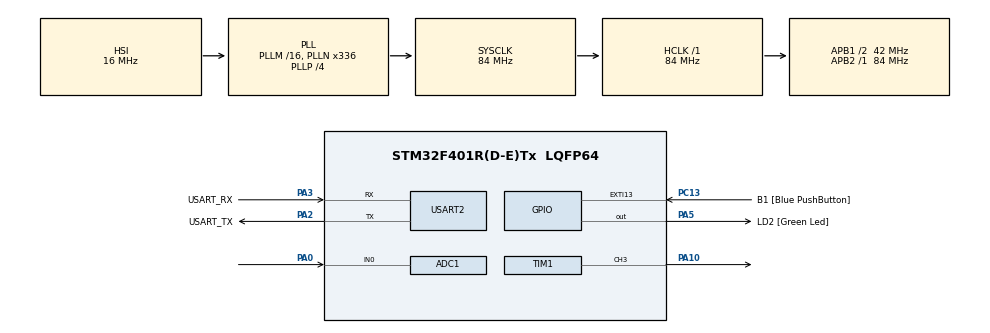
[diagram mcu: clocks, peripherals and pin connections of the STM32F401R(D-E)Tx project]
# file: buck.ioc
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ADC1.Channel-0\#ChannelRegularConversion=ADC_CHANNEL_0
ADC1.ContinuousConvMode=DISABLE
ADC1.ExternalTrigConv=ADC_EXTERNALTRIGCONV_T2_TRGO
ADC1.ExternalTrigConvEdge=ADC_EXTERNALTRIGCONVEDGE_FALLING
ADC1.NbrOfConversion=1
ADC1.NbrOfConversionFlag=1
ADC1.Rank-0\#ChannelRegularConversion=1
ADC1.SamplingTime-0\#ChannelRegularConversion=ADC_SAMPLETIME_3CYCLES
ADC1.master=1
Mcu.Family=STM32F4
Mcu.Name=STM32F401R(D-E)Tx
Mcu.Package=LQFP64
NVIC.ADC_IRQn=true\:0\:0\:false\:false\:true\:true\:true
NVIC.PriorityGroup=NVIC_PRIORITYGROUP_0
NVIC.TIM1_CC_IRQn=true\:0\:0\:false\:false\:true\:true\:true
NVIC.TIM2_IRQn=true\:0\:0\:false\:false\:true\:true\:true
PA0-WKUP.Signal=ADCx_IN0
PA10.Signal=S_TIM1_CH3
PA13.GPIO_Label=TMS
PA13.Mode=Serial_Wire
PA13.Signal=SYS_JTMS-SWDIO
PA14.GPIO_Label=TCK
PA14.Mode=Serial_Wire
PA14.Signal=SYS_JTCK-SWCLK
PA2.GPIO_Label=USART_TX
PA2.GPIO_Mode=GPIO_MODE_AF_PP
PA2.GPIO_PuPd=GPIO_NOPULL
PA2.GPIO_Speed=GPIO_SPEED_FREQ_LOW
PA2.Mode=Asynchronous
PA2.Signal=USART2_TX
PA3.GPIO_Label=USART_RX
PA3.GPIO_Mode=GPIO_MODE_AF_PP
PA3.GPIO_PuPd=GPIO_NOPULL
PA3.GPIO_Speed=GPIO_SPEED_FREQ_LOW
PA3.Mode=Asynchronous
PA3.Signal=USART2_RX
PA5.GPIO_Label=LD2 [Green Led]
PA5.GPIO_Mode=GPIO_MODE_OUTPUT_PP
PA5.GPIO_PuPd=GPIO_NOPULL
PA5.GPIO_Speed=GPIO_SPEED_FREQ_LOW
PA5.Signal=GPIO_Output
PB3.GPIO_Label=SWO
PB3.Signal=SYS_JTDO-SWO
PC13-ANTI_TAMP.GPIO_Label=B1 [Blue PushButton]
PC13-ANTI_TAMP.GPIO_ModeDefaultEXTI=GPIO_MODE_IT_FALLING
PC13-ANTI_TAMP.GPIO_PuPd=GPIO_NOPULL
PC13-ANTI_TAMP.Signal=GPXTI13
PC14-OSC32_IN.Mode=LSE-External-Oscillator
PC14-OSC32_IN.Signal=RCC_OSC32_IN
PC15-OSC32_OUT.Mode=LSE-External-Oscillator
PC15-OSC32_OUT.Signal=RCC_OSC32_OUT
PH0\ -\ OSC_IN.Mode=HSE-External-Clock-Source
PH0\ -\ OSC_IN.Signal=RCC_OSC_IN
PH1\ -\ OSC_OUT.Mode=HSE-External-Clock-Source
PH1\ -\ OSC_OUT.Signal=RCC_OSC_OUT
ProjectManager.HeapSize=0x200
ProjectManager.StackSize=0x400
ProjectManager.TargetToolchain=STM32CubeIDE
RCC.48MHZClocksFreq_Value=48000000
RCC.AHBFreq_Value=84000000
RCC.APB1CLKDivider=RCC_HCLK_DIV2
RCC.APB1Freq_Value=42000000
RCC.APB1TimFreq_Value=84000000
RCC.APB2Freq_Value=84000000
RCC.APB2TimFreq_Value=84000000
RCC.CortexFreq_Value=84000000
RCC.HCLKFreq_Value=84000000
RCC.HSE_VALUE=8000000
RCC.HSI_VALUE=16000000
RCC.PLLN=336
RCC.PLLP=RCC_PLLP_DIV4
RCC.PLLQ=7
RCC.SYSCLKFreq_VALUE=84000000
RCC.SYSCLKSource=RCC_SYSCLKSOURCE_PLLCLK
RCC.VCOOutputFreq_Value=336000000
SH.ADCx_IN0.0=ADC1_IN0,IN0
SH.S_TIM1_CH3.0=TIM1_CH3,PWM Generation3 CH3
TIM1.AutoReloadPreload=TIM_AUTORELOAD_PRELOAD_DISABLE
TIM1.Channel-PWM\ Generation3\ CH3=TIM_CHANNEL_3
TIM1.OCFastMode_PWM-PWM\ Generation3\ CH3=TIM_OCFAST_ENABLE
TIM1.Period=840
TIM1.Pulse-PWM\ Generation3\ CH3=100
TIM1.TIM_MasterOutputTrigger=TIM_TRGO_UPDATE
TIM2.AutoReloadPreload=TIM_AUTORELOAD_PRELOAD_DISABLE
TIM2.Channel-PWM\ Generation1\ No\ Output=TIM_CHANNEL_1
TIM2.Period=840
TIM2.Pulse-PWM\ Generation1\ No\ Output=1000
TIM2.TIM_MasterOutputTrigger=TIM_TRGO_UPDATE
USART2.VirtualMode=VM_ASYNC
VP_TIM2_VS_no_output1.Mode=PWM Generation1 No Output
board=NUCLEO-F401RE

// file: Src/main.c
/* USER CODE BEGIN Header */
/**
  ******************************************************************************
  * @file           : main.c
  * @brief          : Main program body
  ******************************************************************************
  * @attention
  *
  * <h2><center>&copy; Copyright (c) 2021 STMicroelectronics.
  * All rights reserved.</center></h2>
  *
  * This software component is licensed by ST under BSD 3-Clause license,
  * the "License"; You may not use this file except in compliance with the
  * License. You may obtain a copy of the License at:
  *                        opensource.org/licenses/BSD-3-Clause
  *
  ******************************************************************************
  */
/* USER CODE END Header */
#include "main.h"

/* USER CODE BEGIN PM */
typedef struct {
	double error;
	double k_i;
	double k_p;
	double k_i_array;
	double dt;
	double set_point;
}PI;

void pi_init(PI *pi_obj,double set_ki,double set_kp,double set_dt)
{
	pi_obj->dt = set_dt;
	pi_obj->k_i = set_ki;
	pi_obj->k_p = set_kp;

}
void update_setpoint(PI *pi_obj,double setpoint)
{
	pi_obj->set_point = setpoint;

}
double update_pi(PI *pi,double current_target)
{
	double return_duty;
	pi->error = (pi->set_point - current_target)/100.0;
	pi->k_i_array += pi->k_i*pi->error*pi->dt;
	return_duty = pi->error*(pi->k_p) + pi->k_i_array*(pi->k_i);
	return_duty = return_duty>0.9?0.9:return_duty;
	return_duty = return_duty<0?0:return_duty;
	return return_duty;

}

/* USER CODE END PM */

ADC_HandleTypeDef hadc1;

TIM_HandleTypeDef htim1;
TIM_HandleTypeDef htim2;

UART_HandleTypeDef huart2;

/* USER CODE BEGIN PV */
uint16_t adc_val;
PI Pi;

/* USER CODE END PV */

void SystemClock_Config(void);
static void MX_GPIO_Init(void);
static void MX_USART2_UART_Init(void);
static void MX_ADC1_Init(void);
static void MX_TIM1_Init(void);
static void MX_TIM2_Init(void);

/* USER CODE BEGIN 0 */
void HAL_ADC_ConvCpltCallback(ADC_HandleTypeDef* AdcHandle)
{
	adc_val  = HAL_ADC_GetValue(&hadc1);
	TIM1->CCR3 = update_pi(&Pi,adc_val)*htim1.Init.Period ;

}
/* USER CODE END 0 */

int main(void)
{
  /* USER CODE BEGIN 1 */
	pi_init(&Pi,2,2.5,0.00009858);
	update_setpoint(&Pi,1120);

  /* USER CODE END 1 */

  /* MCU Configuration--------------------------------------------------------*/

  /* Reset of all peripherals, Initializes the Flash interface and the Systick. */
  HAL_Init();

  /* Configure the system clock */
  SystemClock_Config();

  /* Initialize all configured peripherals */
  MX_GPIO_Init();
  MX_USART2_UART_Init();
  MX_ADC1_Init();
  MX_TIM1_Init();
  MX_TIM2_Init();
  /* USER CODE BEGIN 2 */
  HAL_TIM_PWM_Start (&htim1,TIM_CHANNEL_3);
  HAL_TIM_PWM_Start (&htim2, TIM_CHANNEL_1);
  HAL_ADC_Start_IT(&hadc1);
  /* USER CODE END 2 */

  /* Infinite loop */
  while (1)
  {

  }
}

void SystemClock_Config(void)
{
  RCC_OscInitTypeDef RCC_OscInitStruct = {0};
  RCC_ClkInitTypeDef RCC_ClkInitStruct = {0};

  /** Configure the main internal regulator output voltage
  */
  __HAL_RCC_PWR_CLK_ENABLE();
  __HAL_PWR_VOLTAGESCALING_CONFIG(PWR_REGULATOR_VOLTAGE_SCALE2);
  /** Initializes the RCC Oscillators according to the specified parameters
  * in the RCC_OscInitTypeDef structure.
  */
  RCC_OscInitStruct.OscillatorType = RCC_OSCILLATORTYPE_HSI;
  RCC_OscInitStruct.HSIState = RCC_HSI_ON;
  RCC_OscInitStruct.HSICalibrationValue = RCC_HSICALIBRATION_DEFAULT;
  RCC_OscInitStruct.PLL.PLLState = RCC_PLL_ON;
  RCC_OscInitStruct.PLL.PLLSource = RCC_PLLSOURCE_HSI;
  RCC_OscInitStruct.PLL.PLLM = 16;
  RCC_OscInitStruct.PLL.PLLN = 336;
  RCC_OscInitStruct.PLL.PLLP = RCC_PLLP_DIV4;
  RCC_OscInitStruct.PLL.PLLQ = 7;
  if (HAL_RCC_OscConfig(&RCC_OscInitStruct) != HAL_OK)
  {
    Error_Handler();
  }
  /** Initializes the CPU, AHB and APB buses clocks
  */
  RCC_ClkInitStruct.ClockType = RCC_CLOCKTYPE_HCLK|RCC_CLOCKTYPE_SYSCLK
                              |RCC_CLOCKTYPE_PCLK1|RCC_CLOCKTYPE_PCLK2;
  RCC_ClkInitStruct.SYSCLKSource = RCC_SYSCLKSOURCE_PLLCLK;
  RCC_ClkInitStruct.AHBCLKDivider = RCC_SYSCLK_DIV1;
  RCC_ClkInitStruct.APB1CLKDivider = RCC_HCLK_DIV2;
  RCC_ClkInitStruct.APB2CLKDivider = RCC_HCLK_DIV1;

  if (HAL_RCC_ClockConfig(&RCC_ClkInitStruct, FLASH_LATENCY_2) != HAL_OK)
  {
    Error_Handler();
  }
}

static void MX_ADC1_Init(void)
{

  ADC_ChannelConfTypeDef sConfig = {0};

  /** Configure the global features of the ADC (Clock, Resolution, Data Alignment and number of conversion)
  */
  hadc1.Instance = ADC1;
  hadc1.Init.ClockPrescaler = ADC_CLOCK_SYNC_PCLK_DIV4;
  hadc1.Init.Resolution = ADC_RESOLUTION_12B;
  hadc1.Init.ScanConvMode = DISABLE;
  hadc1.Init.ContinuousConvMode = DISABLE;
  hadc1.Init.DiscontinuousConvMode = DISABLE;
  hadc1.Init.ExternalTrigConvEdge = ADC_EXTERNALTRIGCONVEDGE_FALLING;
  hadc1.Init.ExternalTrigConv = ADC_EXTERNALTRIGCONV_T2_TRGO;
  hadc1.Init.DataAlign = ADC_DATAALIGN_RIGHT;
  hadc1.Init.NbrOfConversion = 1;
  hadc1.Init.DMAContinuousRequests = DISABLE;
  hadc1.Init.EOCSelection = ADC_EOC_SINGLE_CONV;
  if (HAL_ADC_Init(&hadc1) != HAL_OK)
  {
    Error_Handler();
  }
  /** Configure for the selected ADC regular channel its corresponding rank in the sequencer and its sample time.
  */
  sConfig.Channel = ADC_CHANNEL_0;
  sConfig.Rank = 1;
  sConfig.SamplingTime = ADC_SAMPLETIME_3CYCLES;
  if (HAL_ADC_ConfigChannel(&hadc1, &sConfig) != HAL_OK)
  {
    Error_Handler();
  }

}

static void MX_TIM1_Init(void)
{

  TIM_MasterConfigTypeDef sMasterConfig = {0};
  TIM_OC_InitTypeDef sConfigOC = {0};
  TIM_BreakDeadTimeConfigTypeDef sBreakDeadTimeConfig = {0};

  htim1.Instance = TIM1;
  htim1.Init.Prescaler = 0;
  htim1.Init.CounterMode = TIM_COUNTERMODE_UP;
  htim1.Init.Period = 8400;
  htim1.Init.ClockDivision = TIM_CLOCKDIVISION_DIV1;
  htim1.Init.RepetitionCounter = 0;
  htim1.Init.AutoReloadPreload = TIM_AUTORELOAD_PRELOAD_DISABLE;
  if (HAL_TIM_PWM_Init(&htim1) != HAL_OK)
  {
    Error_Handler();
  }
  sMasterConfig.MasterOutputTrigger = TIM_TRGO_UPDATE;
  sMasterConfig.MasterSlaveMode = TIM_MASTERSLAVEMODE_DISABLE;
  if (HAL_TIMEx_MasterConfigSynchronization(&htim1, &sMasterConfig) != HAL_OK)
  {
    Error_Handler();
  }
  sConfigOC.OCMode = TIM_OCMODE_PWM1;
  sConfigOC.Pulse = 1000;
  sConfigOC.OCPolarity = TIM_OCPOLARITY_HIGH;
  sConfigOC.OCNPolarity = TIM_OCNPOLARITY_HIGH;
  sConfigOC.OCFastMode = TIM_OCFAST_ENABLE;
  sConfigOC.OCIdleState = TIM_OCIDLESTATE_RESET;
  sConfigOC.OCNIdleState = TIM_OCNIDLESTATE_RESET;
  if (HAL_TIM_PWM_ConfigChannel(&htim1, &sConfigOC, TIM_CHANNEL_3) != HAL_OK)
  {
    Error_Handler();
  }
  sBreakDeadTimeConfig.OffStateRunMode = TIM_OSSR_DISABLE;
  sBreakDeadTimeConfig.OffStateIDLEMode = TIM_OSSI_DISABLE;
  sBreakDeadTimeConfig.LockLevel = TIM_LOCKLEVEL_OFF;
  sBreakDeadTimeConfig.DeadTime = 0;
  sBreakDeadTimeConfig.BreakState = TIM_BREAK_DISABLE;
  sBreakDeadTimeConfig.BreakPolarity = TIM_BREAKPOLARITY_HIGH;
  sBreakDeadTimeConfig.AutomaticOutput = TIM_AUTOMATICOUTPUT_DISABLE;
  if (HAL_TIMEx_ConfigBreakDeadTime(&htim1, &sBreakDeadTimeConfig) != HAL_OK)
  {
    Error_Handler();
  }
  HAL_TIM_MspPostInit(&htim1);

}

static void MX_TIM2_Init(void)
{

  TIM_MasterConfigTypeDef sMasterConfig = {0};
  TIM_OC_InitTypeDef sConfigOC = {0};

  htim2.Instance = TIM2;
  htim2.Init.Prescaler = 0;
  htim2.Init.CounterMode = TIM_COUNTERMODE_UP;
  htim2.Init.Period = 8400;
  htim2.Init.ClockDivision = TIM_CLOCKDIVISION_DIV1;
  htim2.Init.AutoReloadPreload = TIM_AUTORELOAD_PRELOAD_DISABLE;
  if (HAL_TIM_PWM_Init(&htim2) != HAL_OK)
  {
    Error_Handler();
  }
  sMasterConfig.MasterOutputTrigger = TIM_TRGO_UPDATE;
  sMasterConfig.MasterSlaveMode = TIM_MASTERSLAVEMODE_DISABLE;
  if (HAL_TIMEx_MasterConfigSynchronization(&htim2, &sMasterConfig) != HAL_OK)
  {
    Error_Handler();
  }
  sConfigOC.OCMode = TIM_OCMODE_PWM1;
  sConfigOC.Pulse = 1000;
  sConfigOC.OCPolarity = TIM_OCPOLARITY_HIGH;
  sConfigOC.OCFastMode = TIM_OCFAST_DISABLE;
  if (HAL_TIM_PWM_ConfigChannel(&htim2, &sConfigOC, TIM_CHANNEL_1) != HAL_OK)
  {
    Error_Handler();
  }

}

static void MX_USART2_UART_Init(void)
{

  huart2.Instance = USART2;
  huart2.Init.BaudRate = 115200;
  huart2.Init.WordLength = UART_WORDLENGTH_8B;
  huart2.Init.StopBits = UART_STOPBITS_1;
  huart2.Init.Parity = UART_PARITY_NONE;
  huart2.Init.Mode = UART_MODE_TX_RX;
  huart2.Init.HwFlowCtl = UART_HWCONTROL_NONE;
  huart2.Init.OverSampling = UART_OVERSAMPLING_16;
  if (HAL_UART_Init(&huart2) != HAL_OK)
  {
    Error_Handler();
  }

}

static void MX_GPIO_Init(void)
{
  GPIO_InitTypeDef GPIO_InitStruct = {0};

  /* GPIO Ports Clock Enable */
  __HAL_RCC_GPIOC_CLK_ENABLE();
  __HAL_RCC_GPIOH_CLK_ENABLE();
  __HAL_RCC_GPIOA_CLK_ENABLE();
  __HAL_RCC_GPIOB_CLK_ENABLE();

  /*Configure GPIO pin Output Level */
  HAL_GPIO_WritePin(LD2_GPIO_Port, LD2_Pin, GPIO_PIN_RESET);

  /*Configure GPIO pin : B1_Pin */
  GPIO_InitStruct.Pin = B1_Pin;
  GPIO_InitStruct.Mode = GPIO_MODE_IT_FALLING;
  GPIO_InitStruct.Pull = GPIO_NOPULL;
  HAL_GPIO_Init(B1_GPIO_Port, &GPIO_InitStruct);

  /*Configure GPIO pin : LD2_Pin */
  GPIO_InitStruct.Pin = LD2_Pin;
  GPIO_InitStruct.Mode = GPIO_MODE_OUTPUT_PP;
  GPIO_InitStruct.Pull = GPIO_NOPULL;
  GPIO_InitStruct.Speed = GPIO_SPEED_FREQ_LOW;
  HAL_GPIO_Init(LD2_GPIO_Port, &GPIO_InitStruct);

}

void Error_Handler(void)
{
  __disable_irq();
  while (1)
  {
  }
}

/************************ (C) COPYRIGHT STMicroelectronics *****END OF FILE****/
